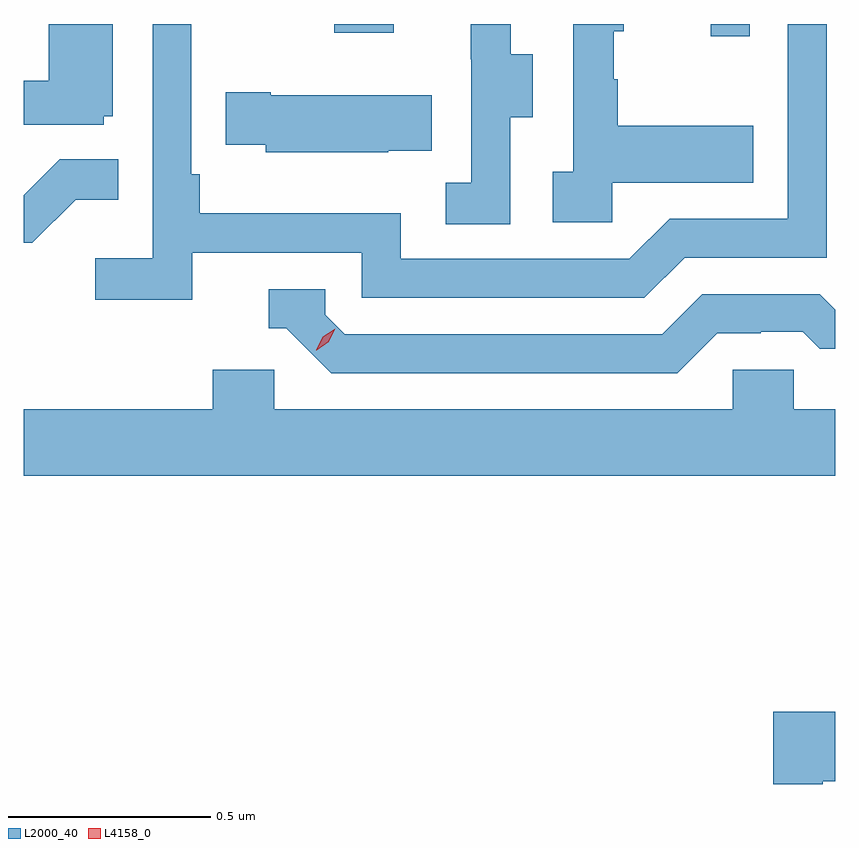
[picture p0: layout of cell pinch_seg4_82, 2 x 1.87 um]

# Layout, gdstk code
import gdstk
lib = gdstk.Library(unit=1e-6, precision=1e-09)
def R(c, l, rs):  # rectangles x0, y0, x1, y1
    for r in rs: c.add(gdstk.rectangle(r[:2], r[2:], *l))
def P(c, l, *ps):  # polygons
    for p in ps: c.add(gdstk.Polygon(p, *l))
L2000_40 = (2000, 40)
L4158_0 = (4158, 0)

pinch_seg4_82 = lib.new_cell('pinch_seg4_82')
R(pinch_seg4_82, L2000_40, [(1059.194,821.88,1059.291,821.91), (1058.266,821.889,1058.413,821.91)])
P(pinch_seg4_82, L2000_40, [(1057.698,821.682),(1057.72,821.682),(1057.72,821.91),(1057.562,821.91),(1057.562,821.77),(1057.501,821.77),(1057.501,821.661),(1057.698,821.661)],
  [(1057.916,821.346),(1058.334,821.346),(1058.334,821.235),(1059.031,821.235),(1059.13,821.334),(1059.48,821.334),(1059.48,821.91),(1059.384,821.91),(1059.384,821.43),(1059.093,821.43),(1058.994,821.331),(1058.43,821.331),(1058.43,821.443),(1057.934,821.443),(1057.934,821.539),(1057.914,821.539),(1057.914,821.91),(1057.818,821.91),(1057.818,821.332),(1057.677,821.332),(1057.677,821.23),(1057.916,821.23)],
  [(1058.7,821.68),(1058.755,821.68),(1058.755,821.835),(1058.701,821.835),(1058.701,821.91),(1058.603,821.91),(1058.603,821.823),(1058.604,821.823),(1058.604,821.519),(1058.541,821.519),(1058.541,821.416),(1058.7,821.416)],
  [(1058.952,821.519),(1059.299,821.519),(1059.299,821.659),(1058.965,821.659),(1058.965,821.774),(1058.955,821.774),(1058.955,821.892),(1058.98,821.892),(1058.98,821.91),(1058.856,821.91),(1058.856,821.546),(1058.805,821.546),(1058.805,821.421),(1058.952,821.421)],
  [(1058.399,821.597),(1058.507,821.597),(1058.507,821.734),(1058.11,821.734),(1058.11,821.742),(1057.999,821.742),(1057.999,821.612),(1058.097,821.612),(1058.097,821.594),(1058.399,821.594)],
  [(1057.629,821.477),(1057.733,821.477),(1057.733,821.576),(1057.589,821.576),(1057.501,821.488),(1057.501,821.37),(1057.522,821.37)],
  [(1059.211,821.148),(1059.318,821.148),(1059.318,821.151),(1059.421,821.151),(1059.463,821.109),(1059.501,821.109),(1059.501,821.206),(1059.463,821.244),(1059.174,821.244),(1059.075,821.145),(1058.292,821.145),(1058.244,821.193),(1058.244,821.256),(1058.105,821.256),(1058.105,821.16),(1058.148,821.16),(1058.259,821.049),(1059.112,821.049)],
  [(1059.501,820.96),(1059.399,820.96),(1059.399,821.058),(1059.249,821.058),(1059.249,820.96),(1058.118,820.96),(1058.118,821.058),(1057.967,821.058),(1057.967,820.96),(1057.501,820.96),(1057.501,820.796),(1059.501,820.796)],
  [(1059.471,820.043),(1059.501,820.043),(1059.501,820.214),(1059.348,820.214),(1059.348,820.036),(1059.471,820.036)])
P(pinch_seg4_82, L4158_0, [(1058.222,821.105),(1058.222,821.106),(1058.238,821.139),(1058.268,821.159),(1058.268,821.159),(1058.268,821.159),(1058.253,821.126),(1058.223,821.105)])

lib.write_gds('pinch_seg4_82.gds')
